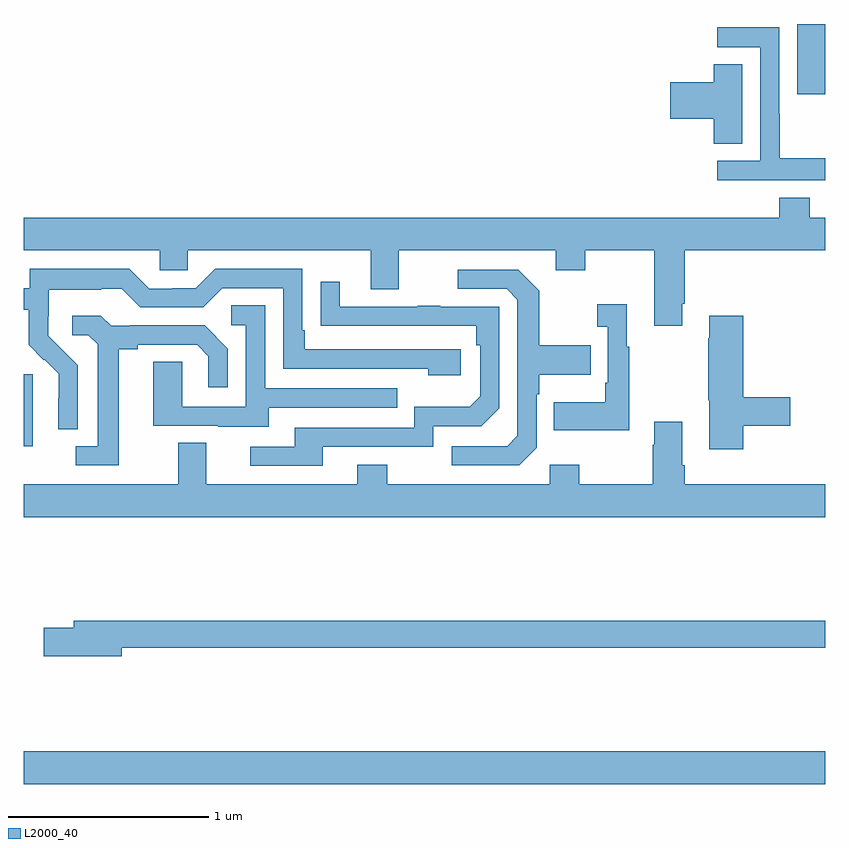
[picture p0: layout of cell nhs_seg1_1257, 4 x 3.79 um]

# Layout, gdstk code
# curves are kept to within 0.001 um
import gdstk
lib = gdstk.Library(unit=1e-6, precision=1e-09)
def R(c, l, rs):  # rectangles x0, y0, x1, y1
    for r in rs: c.add(gdstk.rectangle(r[:2], r[2:], *l))
def P(c, l, *ps):  # polygons
    for p in ps: c.add(gdstk.Polygon(p, *l))
L2000_40 = (2000, 40)

nhs_seg1_1257 = lib.new_cell('nhs_seg1_1257')
R(nhs_seg1_1257, L2000_40, [(179,546.404,183,546.568), (179,548.09,179.044,548.451), (182.861,549.849,183,550.199)])
P(nhs_seg1_1257, L2000_40, [(183,549.529),(182.775,549.529),(182.775,549.752),(182.772,549.752),(182.772,550.182),(182.463,550.182),(182.463,550.083),(182.676,550.083),(182.676,549.516),(182.463,549.516),(182.463,549.42),(183,549.42)],
  [(182.587,549.998),(182.444,549.998),(182.444,549.908),(182.226,549.908),(182.226,549.725),(182.444,549.725),(182.444,549.601),(182.587,549.601)],
  [(182.287,548.803),(182.3,548.803),(182.3,549.068),(183,549.068),(183,549.232),(182.923,549.232),(182.923,549.331),(182.771,549.331),(182.771,549.232),(179,549.232),(179,549.068),(179.679,549.068),(179.679,548.97),(179.817,548.97),(179.817,549.068),(180.731,549.068),(180.731,548.874),(180.871,548.874),(180.871,549.068),(181.655,549.068),(181.655,548.969),(181.803,548.969),(181.803,549.068),(182.147,549.068),(182.147,548.691),(182.287,548.691)],
  [(179.268,548.494),(179.122,548.642),(179.122,548.739),(179.124,548.739),(179.124,548.873),(179.387,548.873),(179.387,548.877),(179.487,548.877),(179.58,548.784),(179.895,548.784),(179.991,548.88),(180.294,548.88),(180.294,548.478),(181.019,548.478),(181.019,548.444),(181.18,548.444),(181.18,548.574),(180.403,548.574),(180.403,548.671),(180.39,548.671),(180.39,548.976),(179.955,548.976),(179.859,548.88),(179.741,548.88),(179.741,548.877),(179.625,548.877),(179.525,548.977),(179.028,548.977),(179.028,548.88),(179,548.88),(179,548.772),(179.023,548.772),(179.023,548.597),(179.1,548.52),(179.103,548.523),(179.174,548.453),(179.174,548.33),(179.172,548.33),(179.172,548.176),(179.268,548.176)],
  [(181.56,548.082),(181.56,548.351),(181.573,548.351),(181.573,548.447),(181.829,548.447),(181.829,548.595),(181.573,548.595),(181.573,548.867),(181.467,548.973),(181.167,548.973),(181.167,548.877),(181.41,548.877),(181.464,548.823),(181.464,548.142),(181.413,548.091),(181.137,548.091),(181.137,547.995),(181.473,547.995)],
  [(180.493,548.088),(181.044,548.088),(181.044,548.19),(181.284,548.19),(181.374,548.28),(181.374,548.787),(181.079,548.787),(181.079,548.792),(180.967,548.792),(180.967,548.787),(180.577,548.787),(180.577,548.911),(180.481,548.911),(180.481,548.692),(181.258,548.691),(181.258,548.594),(181.278,548.594),(181.278,548.34),(181.225,548.287),(180.948,548.287),(180.948,548.184),(180.353,548.184),(180.353,548.088),(180.129,548.088),(180.129,547.992),(180.493,547.992)],
  [(182.023,548.587),(182.011,548.587),(182.011,548.8),(181.863,548.8),(181.863,548.687),(181.914,548.687),(181.914,548.407),(181.902,548.407),(181.902,548.311),(181.645,548.311),(181.645,548.171),(182.023,548.171)],
  [(180.223,548.283),(180.863,548.283),(180.863,548.379),(180.204,548.379),(180.204,548.795),(180.036,548.795),(180.036,548.694),(180.108,548.694),(180.108,548.289),(179.79,548.289),(179.79,548.513),(179.645,548.513),(179.645,548.193),(179.969,548.193),(179.969,548.189),(180.223,548.189)],
  [(179.473,548.576),(179.569,548.576),(179.569,548.598),(179.864,548.598),(179.921,548.541),(179.921,548.385),(180.018,548.385),(180.018,548.578),(179.902,548.694),(179.53,548.694),(179.53,548.691),(179.436,548.691),(179.384,548.743),(179.241,548.743),(179.241,548.646),(179.322,548.646),(179.369,548.599),(179.369,548.091),(179.259,548.091),(179.259,547.995),(179.473,547.995)],
  [(182.591,548.194),(182.827,548.194),(182.827,548.336),(182.591,548.336),(182.591,548.743),(182.423,548.743),(182.423,548.63),(182.416,548.63),(182.416,548.319),(182.423,548.319),(182.423,548.076),(182.591,548.076)],
  [(183,547.9),(182.3,547.9),(182.3,547.996),(182.287,547.996),(182.287,548.212),(182.147,548.212),(182.147,548.099),(182.14,548.099),(182.14,547.9),(181.773,547.9),(181.773,547.999),(181.626,547.999),(181.626,547.9),(180.813,547.9),(180.813,547.999),(180.665,547.999),(180.665,547.9),(179.911,547.9),(179.911,548.108),(179.771,548.108),(179.771,547.9),(179,547.9),(179,547.736),(183,547.736)],
  [(179.488,547.084),(183,547.084),(183,547.22),(179.249,547.22),(179.249,547.184),(179.1,547.184),(179.1,547.042),(179.488,547.042)])

lib.write_gds('nhs_seg1_1257.gds')
